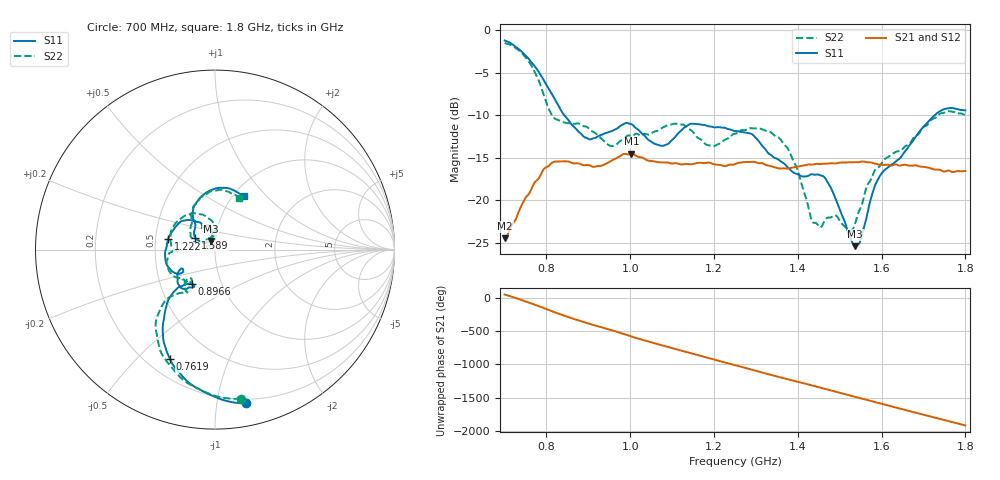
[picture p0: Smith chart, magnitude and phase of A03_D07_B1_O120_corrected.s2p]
! Created with skrf 1.9.0 (http://scikit-rf.org).
# Hz S RI R 50.0
!freq ReS11 ImS11 ReS21 ImS21 ReS12 ImS12 ReS22 ImS22
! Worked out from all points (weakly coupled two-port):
!   1601 points, 700 MHz to 1.8 GHz, reference 50 ohm
!   highest |S21| = -14.51 dB at 1.002 GHz (marker M1); lowest = -24.5 dB at 701.4 MHz (marker M2)
!   lowest |S11| = -25.4 dB at 1.537 GHz (marker M3), VSWR 1.11, Z = 47.4 + j4.54 ohm
!   |S11| at or under -10 dB: 842.8 MHz to 1.726 GHz (883.5 MHz wide, 68.8 % of centre)
!   |S22| runs from -23.6 to -1.5 dB; largest |S21 - S12| = 0.0036
!   S11 on the Smith chart (normalised r, x): 700 MHz: 0.17, -1.21; 761.9 MHz: 0.29, -0.63; 896.6 MHz: 0.72, -0.29; 1.222 GHz: 0.58, +0.07; 1.589 GHz: 0.79, +0.11; 1.8 GHz: 1.12, +0.75
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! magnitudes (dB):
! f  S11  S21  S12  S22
! 700 MHz  -1.2  -24.5  -24.2  -1.5
! 701.4 MHz  -1.2  -24.5  -24.1  -1.5
! 761.9 MHz  -3.6  -18.9  -18.8  -4.0
! 816.2 MHz  -7.8  -15.5  -15.6  -10.2
! 883.6 MHz  -12.2  -15.8  -15.7  -11.2
! 896.6 MHz  -12.7  -15.8  -15.9  -11.4
! 953.7 MHz  -11.9  -15.4  -15.4  -13.6
! 1.002 GHz  -11.0  -14.5  -14.6  -12.5
! 1.067 GHz  -13.5  -15.5  -15.5  -11.8
! 1.144 GHz  -11.0  -15.8  -15.8  -11.7
! 1.222 GHz  -11.4  -15.9  -16.0  -13.0
! 1.25 GHz  -11.8  -15.7  -15.7  -12.2
! 1.357 GHz  -15.4  -16.3  -16.2  -12.8
! 1.396 GHz  -16.9  -16.1  -16.1  -16.1
! 1.434 GHz  -16.9  -15.8  -15.8  -22.4
! 1.471 GHz  -17.9  -15.7  -15.7  -22.1
! 1.537 GHz  -25.4  -15.5  -15.5  -22.8
! 1.55 GHz  -24.6  -15.5  -15.5  -20.8
! 1.589 GHz  -17.8  -15.7  -15.7  -16.2
! 1.617 GHz  -16.1  -15.9  -15.8  -14.8
! 1.734 GHz  -9.7  -16.4  -16.4  -10.0
! 1.8 GHz  -9.4  -16.5  -16.5  -10.0
